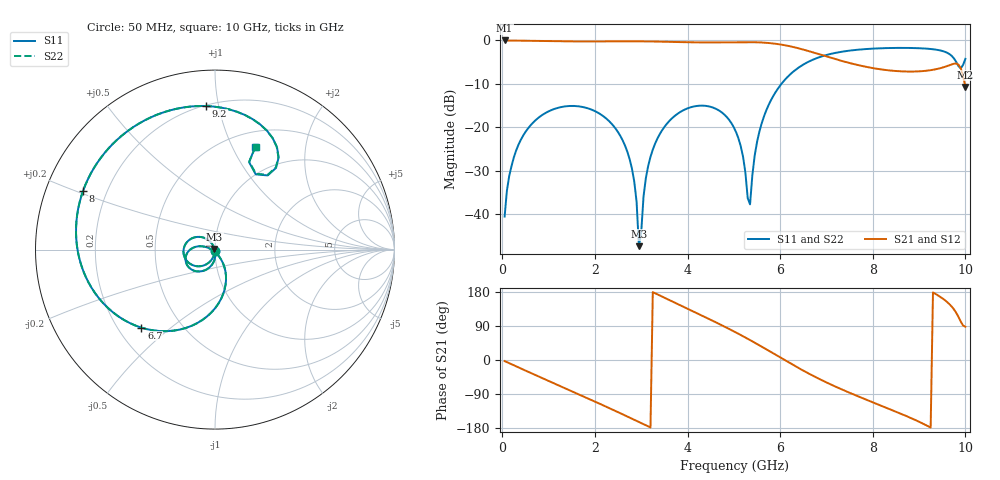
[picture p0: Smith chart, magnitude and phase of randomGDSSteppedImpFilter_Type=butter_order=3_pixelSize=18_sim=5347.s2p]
! freq	dB(S11)	phase(S11)	dB(S12)	phase(S12)
!  dB(S21)	phase(S21)	dB(S22)	phase(S22)
!S-par simulation data
#  GHz  S  DB  R 50
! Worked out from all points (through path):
!   200 points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, 50 MHz to 10 GHz, reference 50 ohm
!   highest |S21| = -0.01 dB at 50 MHz (marker M1); lowest = -10.7 dB at 10 GHz (marker M2)
!   group delay of S21, straight-line fit = 167 ps
!   lowest |S11| = -47.3 dB at 2.95 GHz (marker M3), VSWR 1.01, Z = 49.7 + j0.286 ohm
!   |S11| at or under -10 dB: start of sweep to 6.028 GHz
!   |S22| runs from -47.5 to -1.7 dB; largest |S21 - S12| = 0
!   S11 on the Smith chart (normalised r, x): 50 MHz: 1.00, -0.02; 6.7 GHz: 0.29, -0.40; 8 GHz: 0.11, +0.21; 9.2 GHz: 0.21, +0.92; 10 GHz: 0.67, +1.23
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0.05  -40.54 -92.1  -0.01 -2.8  -0.01 -2.8  -40.54 -92.1
0.2  -28.88 -100.6  -0.03 -11.3  -0.03 -11.3  -28.87 -100.6
0.55  -20.33 -121.0  -0.08 -30.6  -0.08 -30.6  -20.33 -121.0
1.75  -15.35 173.4  -0.24 -96.0  -0.24 -96.0  -15.35 173.4
2.65  -24.20 124.2  -0.20 -146.2  -0.20 -146.2  -24.20 124.0
2.85  -32.51 114.6  -0.20 -157.7  -0.20 -157.7  -32.51 114.2
2.95  -47.35 137.9  -0.21 -163.5  -0.21 -163.5  -47.48 136.0
3.1  -31.69 -85.3  -0.22 -172.2  -0.22 -172.2  -31.70 -84.9
3.4  -21.57 -100.7  -0.28 170.3  -0.28 170.3  -21.57 -100.6
4.3  -15.01 -151.5  -0.46 118.0  -0.46 118.0  -15.01 -151.4
5.05  -21.15 167.5  -0.41 72.4  -0.41 72.4  -21.15 167.6
5.35  -37.73 -95.6  -0.40 52.6  -0.40 52.6  -37.67 -95.6
5.5  -23.42 -58.3  -0.43 42.3  -0.43 42.3  -23.41 -58.4
5.7  -16.11 -67.1  -0.55 28.3  -0.55 28.3  -16.11 -67.1
6.15  -8.51 -96.8  -1.21 -3.9  -1.21 -3.9  -8.51 -96.8
6.7  -4.47 -133.4  -2.72 -41.0  -2.72 -41.0  -4.47 -133.3
8  -1.89 156.0  -6.36 -111.6  -6.36 -111.6  -1.89 156.0
8.35  -1.75 138.8  -6.89 -128.8  -6.89 -128.8  -1.75 138.8
9.2  -1.92 93.6  -6.92 -175.1  -6.92 -175.1  -1.92 93.7
9.7  -3.51 58.8  -5.53 141.6  -5.53 141.6  -3.50 59.0
9.85  -5.90 54.6  -5.57 113.9  -5.57 113.9  -5.86 54.9
10  -4.24 68.6  -10.71 87.8  -10.71 87.8  -4.20 68.5
